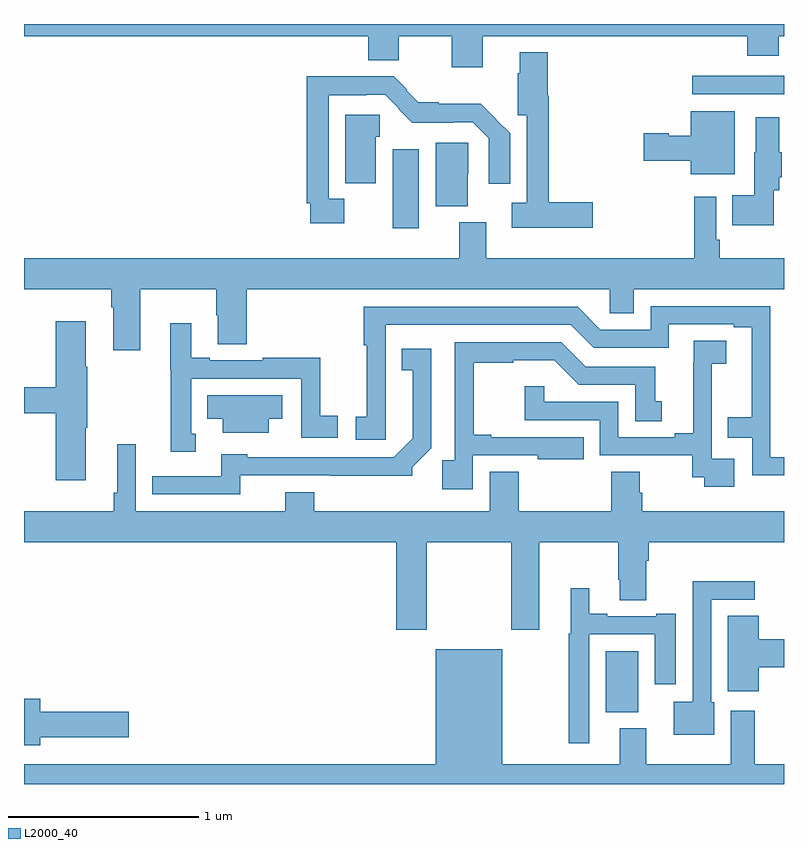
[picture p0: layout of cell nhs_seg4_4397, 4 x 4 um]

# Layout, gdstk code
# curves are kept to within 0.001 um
import gdstk
lib = gdstk.Library(unit=1e-6, precision=1e-09)
def R(c, l, rs):  # rectangles x0, y0, x1, y1
    for r in rs: c.add(gdstk.rectangle(r[:2], r[2:], *l))
def P(c, l, *ps):  # polygons
    for p in ps: c.add(gdstk.Polygon(p, *l))
L2000_40 = (2000, 40)

nhs_seg4_4397 = lib.new_cell('nhs_seg4_4397')
R(nhs_seg4_4397, L2000_40, [(350.063,777.278,350.233,777.598), (348.941,779.826,349.078,780.241), (350.517,780.531,351,780.627)])
P(nhs_seg4_4397, L2000_40, [(349.414,780.836),(350.807,780.836),(350.807,780.734),(350.972,780.734),(350.972,780.836),(351,780.836),(351,780.9),(347,780.9),(347,780.836),(348.812,780.836),(348.812,780.71),(348.973,780.71),(348.973,780.836),(349.25,780.836),(349.25,780.672),(349.414,780.672)],
  [(349.993,779.963),(349.763,779.963),(349.763,780.523),(349.757,780.523),(349.757,780.751),(349.61,780.751),(349.61,780.641),(349.598,780.641),(349.598,780.42),(349.647,780.42),(349.647,779.958),(349.568,779.958),(349.568,779.828),(349.993,779.828)],
  [(348.686,779.98),(348.603,779.98),(348.603,780.524),(348.8,780.524),(348.8,780.528),(348.9,780.528),(348.972,780.456),(348.969,780.453),(349.043,780.38),(349.262,780.38),(349.262,780.384),(349.362,780.384),(349.446,780.3),(349.446,780.06),(349.558,780.06),(349.558,780.324),(349.403,780.481),(349.183,780.481),(349.183,780.489),(349.075,780.489),(349.013,780.551),(349.017,780.555),(348.947,780.625),(348.487,780.625),(348.487,779.956),(348.507,779.956),(348.507,779.852),(348.686,779.852)],
  [(350.74,780.442),(350.51,780.442),(350.51,780.313),(350.394,780.313),(350.394,780.326),(350.262,780.326),(350.262,780.179),(350.51,780.179),(350.51,780.11),(350.74,780.11)],
  [(348.85,780.306),(348.873,780.306),(348.873,780.423),(348.692,780.423),(348.692,780.061),(348.85,780.061)],
  [(350.947,780.024),(350.974,780.024),(350.974,780.093),(350.989,780.093),(350.989,780.225),(350.974,780.225),(350.974,780.409),(350.852,780.409),(350.852,780.225),(350.843,780.225),(350.843,779.998),(350.728,779.998),(350.728,779.84),(350.947,779.84)],
  [(349.336,780.111),(349.338,780.111),(349.338,780.276),(349.166,780.276),(349.166,779.942),(349.336,779.942)],
  [(347.611,779.504),(348.013,779.504),(348.013,779.366),(348.02,779.366),(348.02,779.215),(348.173,779.215),(348.173,779.504),(350.082,779.504),(350.082,779.377),(350.209,779.377),(350.209,779.504),(351,779.504),(351,779.668),(350.663,779.668),(350.663,779.764),(350.643,779.764),(350.643,779.992),(350.527,779.992),(350.527,779.668),(349.432,779.668),(349.432,779.857),(349.292,779.857),(349.292,779.668),(347,779.668),(347,779.504),(347.459,779.504),(347.459,779.408),(347.471,779.408),(347.471,779.184),(347.611,779.184)],
  [(351,778.62),(350.928,778.62),(350.928,779.415),(350.298,779.415),(350.298,779.292),(350.034,779.292),(349.914,779.412),(348.787,779.412),(348.787,779.209),(348.805,779.209),(348.805,778.833),(348.747,778.833),(348.747,778.713),(348.904,778.713),(348.903,779.316),(349.878,779.316),(349.998,779.196),(350.394,779.196),(350.394,779.319),(350.735,779.319),(350.735,779.304),(350.831,779.304),(350.831,778.831),(350.704,778.831),(350.704,778.722),(350.832,778.722),(350.832,778.524),(351,778.524)],
  [(347.326,778.775),(347.334,778.775),(347.334,779.096),(347.326,779.096),(347.326,779.335),(347.168,779.335),(347.168,778.988),(347,778.988),(347,778.852),(347.168,778.852),(347.168,778.5),(347.326,778.5)],
  [(347.905,778.743),(347.88,778.743),(347.88,779.034),(348.459,779.034),(348.459,778.722),(348.652,778.722),(348.652,778.838),(348.558,778.838),(348.558,779.143),(348.256,779.143),(348.256,779.13),(347.977,779.13),(347.977,779.143),(347.881,779.143),(347.881,779.326),(347.771,779.326),(347.771,779.081),(347.772,779.081),(347.772,778.649),(347.905,778.649)],
  [(350.737,778.611),(350.619,778.611),(350.619,778.915),(350.621,778.915),(350.621,779.113),(350.695,779.113),(350.695,779.234),(350.524,779.234),(350.524,779.123),(350.522,779.123),(350.522,778.745),(350.426,778.745),(350.426,778.725),(350.127,778.725),(350.127,778.911),(349.737,778.911),(349.737,778.993),(349.636,778.993),(349.636,778.815),(350.031,778.815),(350.031,778.629),(350.518,778.629),(350.518,778.515),(350.581,778.515),(350.581,778.464),(350.737,778.464)],
  [(349.362,778.629),(349.703,778.629),(349.703,778.61),(349.946,778.61),(349.946,778.725),(349.459,778.725),(349.459,778.738),(349.367,778.738),(349.367,779.118),(349.574,779.118),(349.574,779.129),(349.792,779.129),(349.92,779.001),(350.216,779.001),(350.216,778.81),(350.356,778.81),(350.356,778.914),(350.323,778.914),(350.323,779.097),(349.956,779.097),(349.827,779.226),(349.266,779.226),(349.266,778.603),(349.201,778.603),(349.201,778.452),(349.362,778.452)],
  [(348.138,778.524),(349.044,778.523),(349.044,778.567),(349.143,778.666),(349.143,779.191),(348.988,779.191),(348.988,779.078),(349.046,779.078),(349.046,778.721),(348.945,778.62),(348.174,778.62),(348.174,778.636),(348.038,778.636),(348.038,778.521),(347.674,778.521),(347.674,778.425),(348.138,778.425)],
  [(348.289,778.823),(348.358,778.823),(348.358,778.945),(347.965,778.945),(347.965,778.823),(348.047,778.823),(348.047,778.748),(348.289,778.748)],
  [(349.119,778.172),(349.564,778.172),(349.564,777.711),(349.711,777.711),(349.711,778.172),(350.128,778.172),(350.128,777.976),(350.135,777.976),(350.135,777.868),(350.275,777.868),(350.275,778.076),(350.288,778.076),(350.288,778.172),(351,778.172),(351,778.336),(350.255,778.336),(350.255,778.434),(350.242,778.434),(350.242,778.544),(350.09,778.544),(350.09,778.336),(349.604,778.336),(349.604,778.544),(349.451,778.544),(349.451,778.336),(348.527,778.336),(348.527,778.435),(348.374,778.435),(348.374,778.336),(347.589,778.336),(347.589,778.687),(347.492,778.687),(347.492,778.432),(347.473,778.432),(347.473,778.336),(347,778.336),(347,778.172),(348.959,778.172),(348.959,777.711),(349.119,777.711)],
  [(350.632,777.33),(350.616,777.33),(350.616,777.87),(350.845,777.87),(350.845,777.968),(350.52,777.968),(350.52,777.334),(350.42,777.334),(350.42,777.158),(350.632,777.158)],
  [(349.974,777.687),(350.321,777.687),(350.321,777.426),(350.431,777.426),(350.431,777.796),(350.327,777.796),(350.327,777.783),(350.071,777.783),(350.071,777.796),(349.975,777.796),(349.975,777.931),(349.877,777.931),(349.877,777.69),(349.866,777.69),(349.866,777.114),(349.974,777.114)],
  [(350.867,777.515),(351,777.515),(351,777.662),(350.867,777.662),(350.867,777.785),(350.705,777.785),(350.705,777.387),(350.867,777.387)],
  [(351,777.004),(350.846,777.004),(350.846,777.286),(350.72,777.286),(350.72,777.004),(350.275,777.004),(350.275,777.193),(350.135,777.193),(350.135,777.004),(349.516,777.004),(349.516,777.61),(349.166,777.61),(349.166,777.004),(347,777.004),(347,776.9),(351,776.9)],
  [(347.086,777.146),(347.551,777.146),(347.551,777.281),(347.086,777.281),(347.086,777.349),(347,777.349),(347,777.104),(347.086,777.104)])

lib.write_gds('nhs_seg4_4397.gds')
